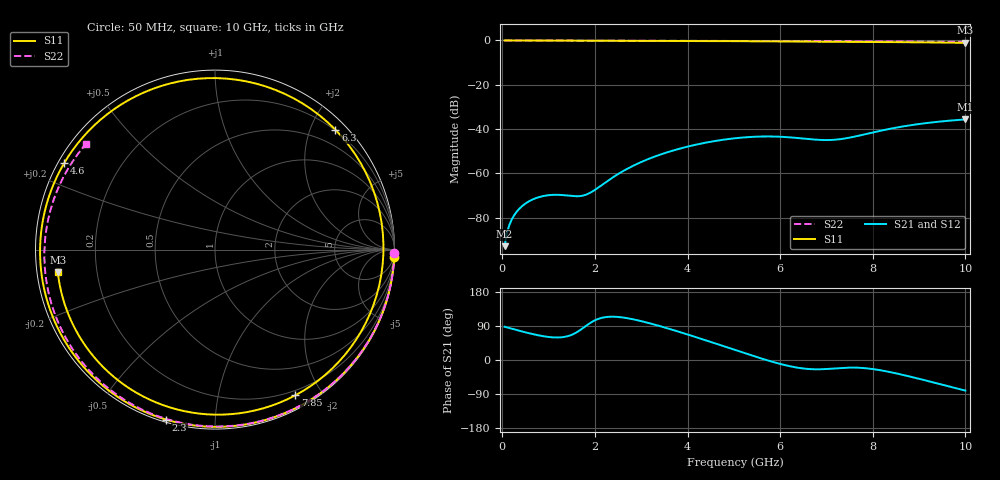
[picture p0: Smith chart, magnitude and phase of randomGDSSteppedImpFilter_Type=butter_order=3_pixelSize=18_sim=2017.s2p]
! freq	dB(S11)	phase(S11)	dB(S12)	phase(S12)
!  dB(S21)	phase(S21)	dB(S22)	phase(S22)
!S-par simulation data
#  GHz  S  DB  R 50
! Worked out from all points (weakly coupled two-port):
!   200 points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, 50 MHz to 10 GHz, reference 50 ohm
!   highest |S21| = -35.62 dB at 10 GHz (marker M1); lowest = -92.8 dB at 50 MHz (marker M2)
!   lowest |S11| = -1.1 dB at 10 GHz (marker M3), VSWR 16.37, Z = 3.07 - j3.58 ohm
!   |S11| at or under -10 dB: nowhere
!   |S22| runs from -0.6 to 0.0 dB; largest |S21 - S12| = 0
!   S11 on the Smith chart (normalised r, x): 50 MHz: 1, -46; 2.3 GHz: 0.01, -0.75; 4.6 GHz: 0.02, +0.27; 6.3 GHz: 0.19, +2.41; 7.85 GHz: 0.15, -1.68; 10 GHz: 0.06, -0.07
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0.05  -0.01 -2.5  -92.79 87.7  -92.79 87.7  -0.00 -1.2
0.2  -0.01 -9.7  -80.93 82.8  -80.93 82.8  -0.01 -4.8
0.45  -0.02 -21.8  -74.35 74.6  -74.35 74.6  -0.01 -10.7
0.8  -0.04 -38.4  -70.62 64.7  -70.62 64.7  -0.02 -19.0
1.3  -0.08 -61.7  -69.74 60.3  -69.74 60.3  -0.04 -30.7
1.75  -0.10 -82.0  -69.94 84.9  -69.94 84.9  -0.05 -41.0
2.3  -0.13 -106.1  -62.99 114.0  -62.99 114.0  -0.07 -53.4
2.8  -0.15 -127.6  -56.79 108.0  -56.79 108.0  -0.08 -64.5
3.4  -0.18 -153.5  -51.57 89.6  -51.57 89.6  -0.10 -77.4
4  -0.22 179.5  -47.90 67.4  -47.90 67.4  -0.12 -90.0
4.6  -0.28 150.2  -45.33 43.7  -45.33 43.7  -0.15 -102.4
5.05  -0.32 125.8  -44.06 25.5  -44.06 25.5  -0.17 -111.5
5.7  -0.40 86.1  -43.30 0.0  -43.30 0.0  -0.21 -124.5
6  -0.44 65.9  -43.43 -10.4  -43.43 -10.4  -0.23 -130.5
6.3  -0.48 44.9  -43.86 -18.6  -43.86 -18.6  -0.25 -136.5
6.7  -0.52 16.2  -44.63 -24.3  -44.63 -24.3  -0.28 -144.5
7.2  -0.58 -19.1  -44.75 -22.0  -44.75 -22.0  -0.32 -154.7
7.85  -0.66 -61.2  -42.23 -21.8  -42.23 -21.8  -0.39 -168.4
8.35  -0.73 -90.0  -39.94 -31.3  -39.94 -31.3  -0.44 -179.3
8.75  -0.79 -111.1  -38.45 -42.2  -38.45 -42.2  -0.49 171.7
9.2  -0.88 -133.5  -37.16 -55.8  -37.16 -55.8  -0.54 161.0
10  -1.06 -171.8  -35.62 -80.7  -35.62 -80.7  -0.64 140.6
